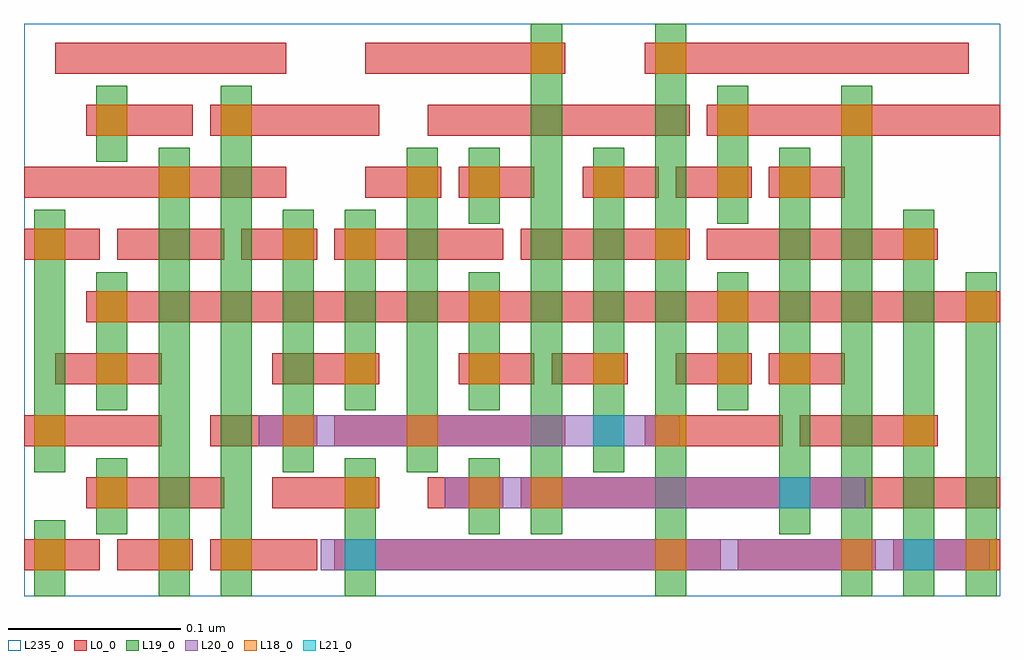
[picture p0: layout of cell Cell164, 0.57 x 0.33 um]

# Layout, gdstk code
import gdstk
lib = gdstk.Library(unit=1e-6, precision=2.5e-10)
def R(c, l, rs):  # rectangles x0, y0, x1, y1
    for r in rs: c.add(gdstk.rectangle(r[:2], r[2:], *l))
def A(c, l, x, y, w, h, nx, ny, dx, dy):  # array of equal rectangles
    R(c, l, [(x+i*dx, y+j*dy, x+i*dx+w, y+j*dy+h) for i in range(nx) for j in range(ny)])
L0_0 = (0, 0)
L18_0 = (18, 0)
L19_0 = (19, 0)
L20_0 = (20, 0)
L21_0 = (21, 0)
L235_0 = (235, 0)

cell164 = lib.new_cell('Cell164')
A(cell164, L0_0, 0.328, 0.215, 0.044, 0.018, 3, 1, 0.054, 0)
R(cell164, L0_0, [(0.004,-0.001,0.048,0.017), (0.058,-0.001,0.102,0.017), (0.112,-0.001,0.174,0.017), (0.184,-0.001,0.408,0.017), (0.418,-0.001,0.498,0.017), (0.508,-0.001,0.57,0.017), (0.04,0.035,0.12,0.053), (0.148,0.035,0.21,0.053), (0.238,0.035,0.282,0.053), (0.292,0.035,0.57,0.053), (0.004,0.071,0.084,0.089), (0.112,0.071,0.174,0.089), (0.184,0.071,0.318,0.089), (0.364,0.071,0.444,0.089), (0.454,0.071,0.534,0.089), (0.022,0.107,0.084,0.125), (0.148,0.107,0.21,0.125), (0.256,0.107,0.3,0.125), (0.31,0.107,0.354,0.125), (0.382,0.107,0.426,0.125), (0.436,0.107,0.48,0.125), (0.04,0.143,0.57,0.161), (0.004,0.179,0.048,0.197), (0.058,0.179,0.12,0.197), (0.13,0.179,0.174,0.197), (0.184,0.179,0.282,0.197), (0.292,0.179,0.39,0.197), (0.4,0.179,0.534,0.197), (0.004,0.215,0.156,0.233), (0.202,0.215,0.246,0.233), (0.256,0.215,0.3,0.233), (0.04,0.251,0.102,0.269), (0.112,0.251,0.21,0.269), (0.238,0.251,0.39,0.269), (0.4,0.251,0.57,0.269), (0.022,0.287,0.156,0.305), (0.202,0.287,0.318,0.305), (0.364,0.287,0.552,0.305)])
A(cell164, L18_0, 0.226, 0.071, 0.018, 0.018, 3, 1, 0.144, 0)
A(cell164, L18_0, 0.19, 0.107, 0.018, 0.018, 4, 1, 0.072, 0)
A(cell164, L18_0, 0.262, 0.143, 0.018, 0.018, 3, 1, 0.144, 0)
A(cell164, L18_0, 0.262, 0.215, 0.018, 0.018, 3, 1, 0.072, 0)
R(cell164, L18_0, [(0.01,-0.001,0.028,0.017), (0.082,-0.001,0.1,0.017), (0.118,-0.001,0.136,0.017), (0.37,-0.001,0.388,0.017), (0.478,-0.001,0.496,0.017), (0.55,-0.001,0.568,0.017), (0.046,0.035,0.064,0.053), (0.19,0.035,0.208,0.053), (0.262,0.035,0.28,0.053), (0.298,0.035,0.316,0.053), (0.01,0.071,0.028,0.089), (0.154,0.071,0.172,0.089), (0.046,0.107,0.064,0.125), (0.442,0.107,0.46,0.125), (0.046,0.143,0.064,0.161), (0.01,0.179,0.028,0.197), (0.154,0.179,0.172,0.197), (0.19,0.179,0.208,0.197), (0.37,0.179,0.388,0.197), (0.514,0.179,0.532,0.197), (0.082,0.215,0.1,0.233), (0.226,0.215,0.244,0.233), (0.442,0.215,0.46,0.233), (0.046,0.251,0.064,0.269), (0.118,0.251,0.136,0.269), (0.406,0.251,0.424,0.269), (0.478,0.251,0.496,0.269), (0.298,0.287,0.316,0.305), (0.37,0.287,0.388,0.305)])
R(cell164, L19_0, [(0.01,-0.016,0.028,0.028), (0.082,-0.016,0.1,0.244), (0.118,-0.016,0.136,0.28), (0.19,-0.016,0.208,0.064), (0.37,-0.016,0.388,0.316), (0.478,-0.016,0.496,0.28), (0.514,-0.016,0.532,0.208), (0.55,-0.016,0.568,0.172), (0.046,0.02,0.064,0.064), (0.262,0.02,0.28,0.064), (0.298,0.02,0.316,0.316), (0.442,0.02,0.46,0.244), (0.01,0.056,0.028,0.208), (0.154,0.056,0.172,0.208), (0.226,0.056,0.244,0.244), (0.334,0.056,0.352,0.244), (0.046,0.092,0.064,0.172), (0.19,0.092,0.208,0.208), (0.262,0.092,0.28,0.172), (0.406,0.092,0.424,0.172), (0.262,0.2,0.28,0.244), (0.406,0.2,0.424,0.28), (0.046,0.236,0.064,0.28)])
R(cell164, L20_0, [(0.176,-0.001,0.564,0.017), (0.248,0.035,0.492,0.053), (0.14,0.071,0.384,0.089)])
R(cell164, L21_0, [(0.19,-0.001,0.208,0.017), (0.514,-0.001,0.532,0.017), (0.442,0.035,0.46,0.053), (0.334,0.071,0.352,0.089)])
R(cell164, L235_0, [(0.004,-0.016,0.57,0.316)])

lib.write_gds('Cell164.gds')
